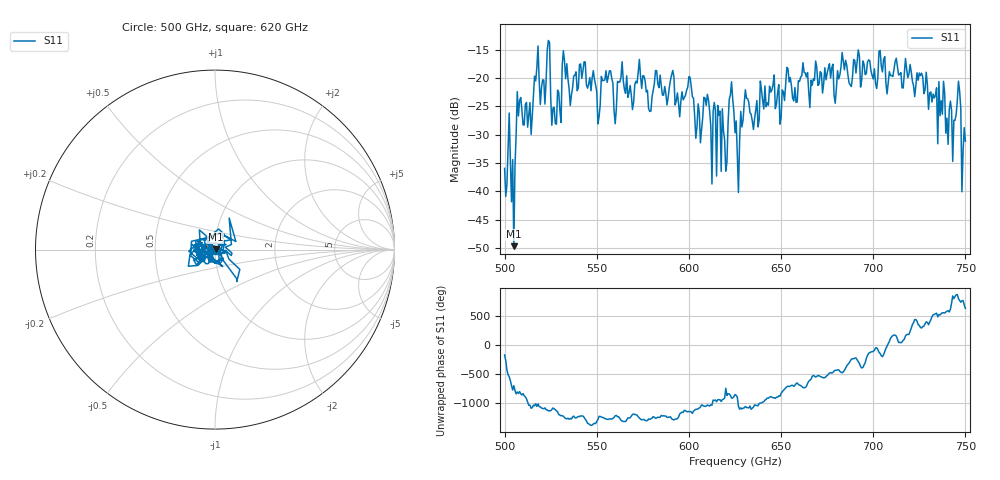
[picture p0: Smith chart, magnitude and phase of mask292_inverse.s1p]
!Created with skrf (http://scikit-rf.org).
# GHz S MA R 50.0
!freq magS11 angS11
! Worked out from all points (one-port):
!   401 points, 500 GHz to 750 GHz, reference 50 ohm
!   lowest |S11| = -49.7 dB at 505 GHz (marker M1), VSWR 1.01, Z = 50.3 + j0.103 ohm
!   |S11| at or under -10 dB: start of sweep to end of sweep
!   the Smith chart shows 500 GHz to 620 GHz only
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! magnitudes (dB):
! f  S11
! 500 GHz  -35.9
! 505 GHz  -49.7
! 508.1 GHz  -24.0
! 513.8 GHz  -24.3
! 516.9 GHz  -20.5
! 520.6 GHz  -20.3
! 523.8 GHz  -13.3
! 526.9 GHz  -25.2
! 531.2 GHz  -17.7
! 542.5 GHz  -18.7
! 550.6 GHz  -28.1
! 562.5 GHz  -20.7
! 590.6 GHz  -19.4
! 593.8 GHz  -22.6
! 600 GHz  -19.7
! 605 GHz  -24.5
! 609.4 GHz  -24.8
! 620 GHz  -36.4
! 623.1 GHz  -20.6
! 625 GHz  -29.6
! 626.2 GHz  -33.4
! 631.2 GHz  -23.6
! 656.2 GHz  -23.5
! 687.5 GHz  -21.2
! 718.8 GHz  -19.9
! 741.9 GHz  -24.0
! 746.2 GHz  -20.5
! 750 GHz  -31.1
